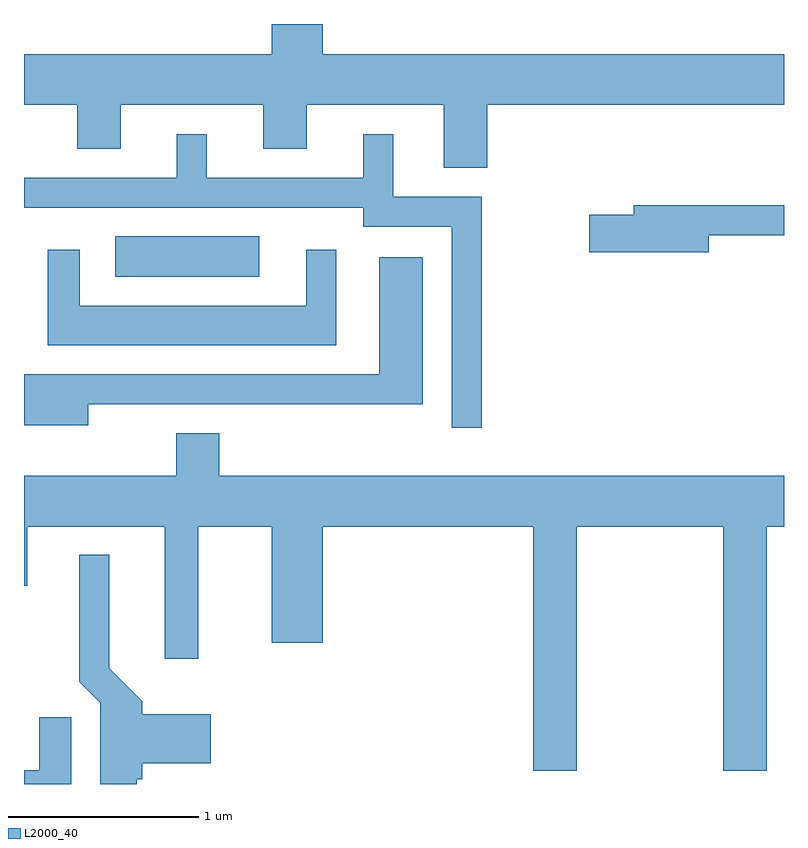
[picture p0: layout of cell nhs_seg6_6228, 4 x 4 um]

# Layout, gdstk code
import gdstk
lib = gdstk.Library(unit=1e-6, precision=1e-09)
def R(c, l, rs):  # rectangles x0, y0, x1, y1
    for r in rs: c.add(gdstk.rectangle(r[:2], r[2:], *l))
def P(c, l, *ps):  # polygons
    for p in ps: c.add(gdstk.Polygon(p, *l))
L2000_40 = (2000, 40)

nhs_seg6_6228 = lib.new_cell('nhs_seg6_6228')
R(nhs_seg6_6228, L2000_40, [(374.091,1626.831,374.849,1627.044)])
P(nhs_seg6_6228, L2000_40, [(376.049,1627.736),(377.611,1627.736),(377.611,1628.004),(375.184,1628.004),(375.184,1628.162),(374.916,1628.162),(374.916,1628.004),(373.611,1628.004),(373.611,1627.736),(373.891,1627.736),(373.891,1627.506),(374.119,1627.506),(374.119,1627.736),(374.871,1627.736),(374.871,1627.506),(375.099,1627.506),(375.099,1627.736),(375.821,1627.736),(375.821,1627.406),(376.049,1627.406)],
  [(376.019,1627.254),(375.554,1627.254),(375.554,1627.583),(375.396,1627.583),(375.396,1627.354),(374.574,1627.354),(374.574,1627.583),(374.416,1627.583),(374.416,1627.354),(373.611,1627.354),(373.611,1627.196),(375.396,1627.196),(375.396,1627.096),(375.861,1627.096),(375.861,1626.038),(376.019,1626.038)],
  [(377.214,1627.051),(377.611,1627.051),(377.611,1627.209),(376.821,1627.209),(376.821,1627.159),(376.586,1627.159),(376.586,1626.961),(377.214,1626.961)],
  [(375.254,1626.973),(375.096,1626.973),(375.096,1626.679),(373.904,1626.679),(373.904,1626.973),(373.736,1626.973),(373.736,1626.471),(375.254,1626.471)],
  [(373.949,1626.161),(375.709,1626.161),(375.709,1626.934),(375.481,1626.934),(375.481,1626.319),(373.611,1626.319),(373.611,1626.051),(373.949,1626.051)],
  [(376.519,1625.516),(377.291,1625.516),(377.291,1624.231),(377.519,1624.231),(377.519,1625.516),(377.611,1625.516),(377.611,1625.784),(374.639,1625.784),(374.639,1626.009),(374.411,1626.009),(374.411,1625.784),(373.611,1625.784),(373.611,1625.206),(373.629,1625.206),(373.629,1625.516),(374.351,1625.516),(374.351,1624.821),(374.529,1624.821),(374.529,1625.516),(374.916,1625.516),(374.916,1624.906),(375.184,1624.906),(375.184,1625.516),(376.291,1625.516),(376.291,1624.231),(376.519,1624.231)],
  [(374.204,1624.186),(374.234,1624.186),(374.234,1624.271),(374.594,1624.271),(374.594,1624.529),(374.234,1624.529),(374.234,1624.597),(374.059,1624.772),(374.059,1625.368),(373.901,1625.368),(373.901,1624.699),(374.011,1624.589),(374.011,1624.162),(374.204,1624.162)],
  [(373.859,1624.513),(373.691,1624.513),(373.691,1624.234),(373.611,1624.234),(373.611,1624.162),(373.859,1624.162)])

lib.write_gds('nhs_seg6_6228.gds')
